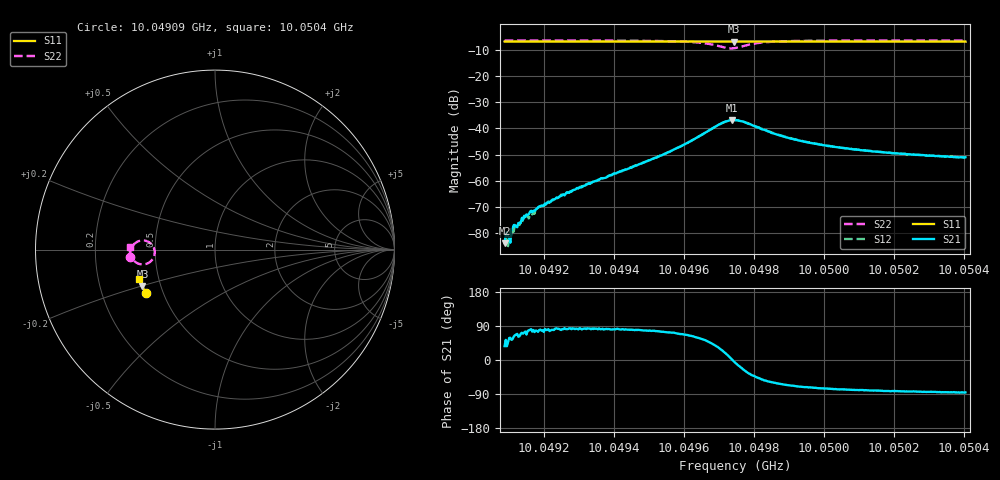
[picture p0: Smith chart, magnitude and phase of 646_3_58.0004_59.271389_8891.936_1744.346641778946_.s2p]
#  HZ  S  RI  R  50.00
! Rohde & Schwarz Vector Network Analyzer
! Rohde-Schwarz,ZNB20-2Port,1311601062101988,3.16
! Created: UTC 3/21/2024, 1:19:16 AM
! freq[Hz]  re:S11  im:S11  re:S21  im:S21  re:S12  im:S12  re:S22  im:S22
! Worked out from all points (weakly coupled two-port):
!   401 points, 10.04909 GHz to 10.0504 GHz, reference 50 ohm
!   highest |S21| = -36.81 dB at 10.04974 GHz (marker M1); lowest = -83.8 dB at 10.04909 GHz (marker M2)
!   lowest |S11| = -6.9 dB at 10.04974 GHz (marker M3), VSWR 2.65, Z = 19.8 - j10.1 ohm
!   |S11| at or under -10 dB: nowhere
!   |S22| runs from -9.5 to -6.5 dB; largest |S21 - S12| = 0.0013
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1.0049088e10  -0.3856 -0.241  5.2e-05 3.85e-05  5.2e-05 7.56e-05  -0.4736 -0.0429
1.0049097e10  -0.3857 -0.2405  5.99e-05 6.57e-05  2.63e-05 5.04e-05  -0.4735 -0.042
1.0049107e10  -0.3863 -0.24  7.26e-05 9.72e-05  5.78e-05 0.000107  -0.4736 -0.041
1.0049114e10  -0.3865 -0.2396  6.66e-05 0.000128  2.4e-05 0.00011  -0.4736 -0.0405
1.0049127e10  -0.3868 -0.2388  7.56e-05 0.000137  3.65e-05 0.00015  -0.4736 -0.0393
1.0049147e10  -0.3875 -0.2377  5.31e-05 0.000198  5.65e-05 0.00018  -0.4736 -0.0376
1.004916e10  -0.388 -0.2369  4.42e-05 0.000253  3.59e-05 0.000219  -0.4737 -0.0364
1.0049186e10  -0.3889 -0.2353  6.16e-05 0.000319  3.63e-05 0.000313  -0.4736 -0.0339
1.0049308e10  -0.3928 -0.2284  0.000122 0.000745  2.7e-05 0.000784  -0.4727 -0.0215
1.0049528e10  -0.3994 -0.2153  0.000738 0.00285  0.000567 0.00288  -0.4642 0.012
1.0049604e10  -0.4016 -0.2106  0.00201 0.00465  0.00172 0.00478  -0.4492 0.0325
1.004968e10  -0.4033 -0.2059  0.00721 0.00684  0.00671 0.00723  -0.396 0.0509
1.0049713e10  -0.4038 -0.2041  0.0122 0.00496  0.0116 0.00576  -0.3521 0.0281
1.0049736e10  -0.404 -0.203  0.0144 0.000604  0.0142 0.00169  -0.3355 -0.0146
1.0049742e10  -0.4041 -0.2027  0.0144 -0.000959  0.0144 0.000304  -0.3369 -0.0283
1.0049746e10  -0.4042 -0.2027  0.0143 -0.00169  0.0145 -0.000553  -0.3385 -0.035
1.0049779e10  -0.4054 -0.2013  0.0109 -0.00656  0.0115 -0.00582  -0.3779 -0.0779
1.0049828e10  -0.4072 -0.1985  0.00566 -0.00763  0.00624 -0.00708  -0.4305 -0.0767
1.0049897e10  -0.4094 -0.1942  0.00265 -0.00608  0.00307 -0.00597  -0.4582 -0.0541
1.0049966e10  -0.4114 -0.1901  0.00155 -0.00498  0.00188 -0.0049  -0.4677 -0.0374
1.0050187e10  -0.4172 -0.1766  0.000478 -0.00341  0.000704 -0.00338  -0.4747 -0.00562
1.0050404e10  -0.4222 -0.1633  0.000219 -0.00281  0.000371 -0.00279  -0.4753 0.015
